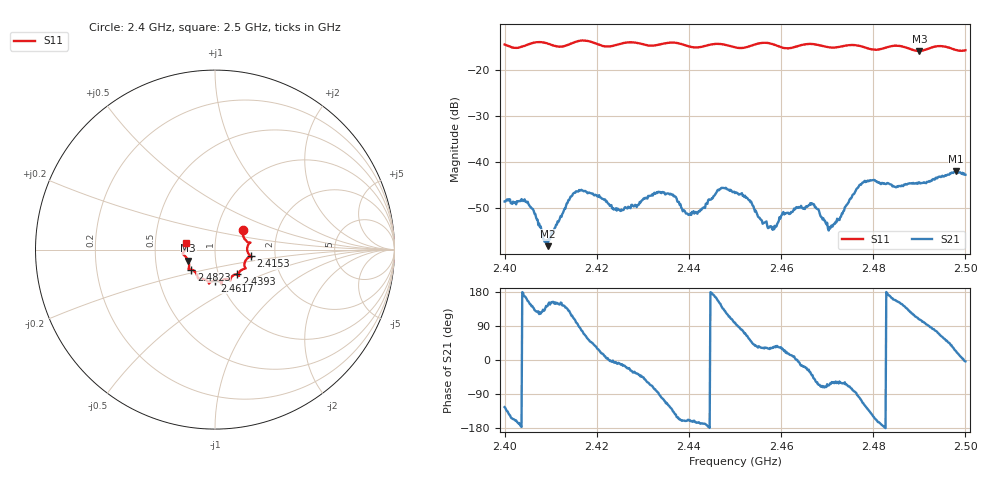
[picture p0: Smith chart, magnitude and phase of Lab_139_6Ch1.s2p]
# Hz S RI R 50
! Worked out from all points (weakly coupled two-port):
!   601 points, 2.4 GHz to 2.5 GHz, reference 50 ohm
!   highest |S21| = -41.98 dB at 2.498 GHz (marker M1); lowest = -58.2 dB at 2.4093 GHz (marker M2)
!   lowest |S11| = -15.8 dB at 2.49 GHz (marker M3), VSWR 1.39, Z = 36.7 - j4.6 ohm
!   |S11| at or under -10 dB: start of sweep to end of sweep
!   S12 and S22 are empty: the file has one direction only
!   S11 on the Smith chart (normalised r, x): 2.4 GHz: 1.33, +0.30; 2.4153 GHz: 1.49, -0.12; 2.4393 GHz: 1.22, -0.35; 2.4617 GHz: 0.94, -0.33; 2.4823 GHz: 0.75, -0.17; 2.5 GHz: 0.72, +0.05
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2.4e9  0.1549 0.1089  -0.00212 -0.0031  0 0  0 0
2.404833e9  0.1828 0.0414  -0.00345 0.00125  0 0  0 0
2.409333e9  0.1909 0.0351  -0.000985 0.000741  0 0  0 0
2.415333e9  0.1982 -0.0378  -0.00116 0.00453  0 0  0 0
2.416667e9  0.2047 -0.0421  0.00103 0.00492  0 0  0 0
2.425333e9  0.1668 -0.0993  0.003 -0.000684  0 0  0 0
2.433333e9  0.1319 -0.134  0.000334 -0.00478  0 0  0 0
2.436667e9  0.1343 -0.1461  -0.00312 -0.00293  0 0  0 0
2.439333e9  0.1227 -0.138  -0.00264 -0.000922  0 0  0 0
2.442167e9  0.0957 -0.1485  -0.00285 -0.000803  0 0  0 0
2.446833e9  0.0843 -0.1722  -0.00435 0.00272  0 0  0 0
2.45e9  0.0661 -0.1637  -0.000702 0.00458  0 0  0 0
2.457667e9  0.0387 -0.1904  0.00172 0.00108  0 0  0 0
2.461667e9  0.000323 -0.1723  0.00265 0.000783  0 0  0 0
2.466667e9  -0.0336 -0.1889  0.00277 -0.00231  0 0  0 0
2.470667e9  -0.0527 -0.1678  0.000918 -0.00168  0 0  0 0
2.4775e9  -0.097 -0.1521  -0.00182 -0.00559  0 0  0 0
2.482333e9  -0.1322 -0.1111  -0.00593 -0.000403  0 0  0 0
2.483333e9  -0.1409 -0.1099  -0.00582 0.000941  0 0  0 0
2.49e9  -0.1495 -0.061  -0.00177 0.0058  0 0  0 0
2.498e9  -0.1648 0.00309  0.00735 0.00305  0 0  0 0
2.5e9  -0.1598 0.0362  0.00731 -0.000455  0 0  0 0
